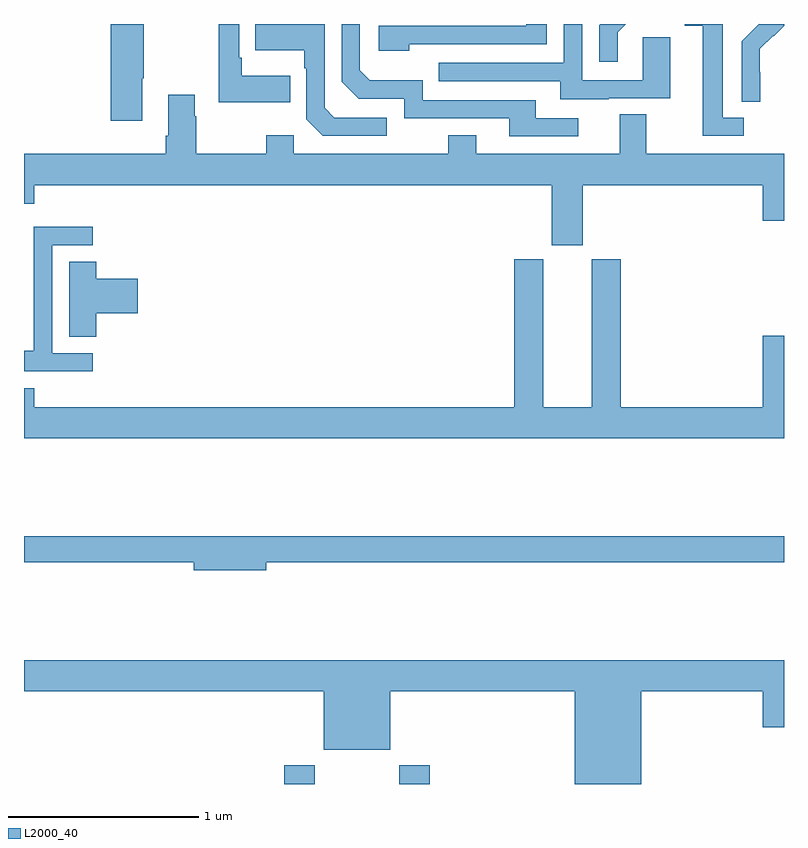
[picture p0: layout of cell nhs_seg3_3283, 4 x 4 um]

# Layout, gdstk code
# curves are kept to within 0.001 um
import gdstk
lib = gdstk.Library(unit=1e-6, precision=1e-09)
def R(c, l, rs):  # rectangles x0, y0, x1, y1
    for r in rs: c.add(gdstk.rectangle(r[:2], r[2:], *l))
def P(c, l, *ps):  # polygons
    for p in ps: c.add(gdstk.Polygon(p, *l))
L2000_40 = (2000, 40)

nhs_seg3_3283 = lib.new_cell('nhs_seg3_3283')
R(nhs_seg3_3283, L2000_40, [(282.371,728.4,282.531,728.5), (282.976,728.4,283.136,728.5)])
P(nhs_seg3_3283, L2000_40, [(284.077,732.009),(284.401,732.009),(284.401,732.329),(284.256,732.329),(284.256,732.105),(283.938,732.105),(283.938,732.4),(283.842,732.4),(283.842,732.195),(283.183,732.195),(283.183,732.099),(283.823,732.099),(283.823,732.005),(284.077,732.005)],
  [(284.874,732.146),(284.873,732.269),(284.943,732.339),(284.946,732.336),(285,732.39),(285,732.4),(284.866,732.4),(284.85,732.384),(284.851,732.383),(284.778,732.31),(284.778,731.992),(284.874,731.992)],
  [(283.028,732.294),(283.752,732.294),(283.752,732.4),(283.643,732.4),(283.643,732.39),(282.867,732.39),(282.867,732.26),(283.028,732.26)],
  [(283.918,731.904),(283.693,731.904),(283.693,732),(283.098,732),(283.098,732.103),(282.821,732.103),(282.768,732.156),(282.768,732.4),(282.672,732.4),(282.672,732.096),(282.762,732.006),(283.002,732.006),(283.002,731.904),(283.553,731.904),(283.553,731.808),(283.918,731.808)],
  [(282.401,732.127),(282.145,732.127),(282.145,732.223),(282.132,732.223),(282.132,732.4),(282.024,732.4),(282.024,731.987),(282.401,731.987)],
  [(281.623,732.115),(281.631,732.115),(281.631,732.4),(281.456,732.4),(281.456,731.892),(281.623,731.892)],
  [(282.91,731.907),(282.633,731.907),(282.582,731.958),(282.582,732.4),(282.217,732.4),(282.217,732.263),(282.474,732.263),(282.474,732.167),(282.486,732.167),(282.486,731.898),(282.573,731.811),(282.91,731.811)],
  [(284.788,731.907),(284.677,731.907),(284.677,732.4),(284.477,732.4),(284.477,732.392),(284.573,732.392),(284.573,731.811),(284.788,731.811)],
  [(284.125,732.357),(284.168,732.4),(284.034,732.4),(284.028,732.394),(284.028,732.201),(284.125,732.201)],
  [(283.942,731.552),(284.888,731.552),(284.888,731.364),(285,731.364),(285,731.716),(284.275,731.716),(284.275,731.924),(284.135,731.924),(284.135,731.716),(283.381,731.716),(283.381,731.815),(283.234,731.815),(283.234,731.716),(282.42,731.716),(282.42,731.815),(282.274,731.815),(282.274,731.716),(281.907,731.716),(281.907,731.915),(281.899,731.915),(281.899,732.028),(281.759,732.028),(281.759,731.812),(281.747,731.812),(281.747,731.716),(281,731.716),(281,731.453),(281.054,731.453),(281.054,731.552),(283.778,731.552),(283.778,731.235),(283.942,731.235)],
  [(281.362,730.668),(281.148,730.668),(281.148,731.235),(281.362,731.235),(281.362,731.334),(281.052,731.334),(281.052,730.904),(281.05,730.904),(281.05,730.681),(281,730.681),(281,730.572),(281.362,730.572)],
  [(285,730.759),(284.888,730.759),(284.888,730.384),(284.141,730.384),(284.141,731.163),(283.988,731.163),(283.988,730.384),(283.732,730.384),(283.732,731.163),(283.58,731.163),(283.58,730.384),(281.054,730.384),(281.054,730.483),(281,730.483),(281,730.22),(285,730.22)],
  [(281.381,730.877),(281.599,730.877),(281.599,731.06),(281.381,731.06),(281.381,731.15),(281.237,731.15),(281.237,730.753),(281.381,730.753)],
  [(282.274,729.568),(285,729.568),(285,729.704),(281,729.704),(281,729.568),(281.894,729.568),(281.894,729.526),(282.274,729.526)],
  [(284.248,728.888),(284.888,728.888),(284.888,728.7),(285,728.7),(285,729.052),(281,729.052),(281,728.888),(282.578,728.888),(282.578,728.579),(282.928,728.579),(282.928,728.888),(283.898,728.888),(283.898,728.4),(284.248,728.4)])

lib.write_gds('nhs_seg3_3283.gds')
